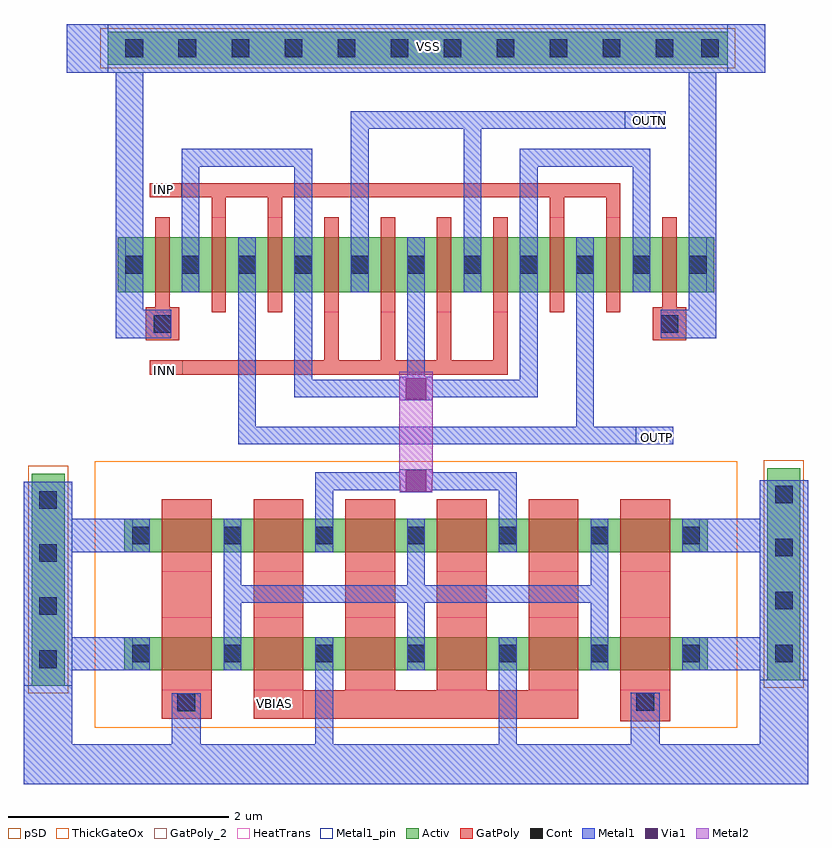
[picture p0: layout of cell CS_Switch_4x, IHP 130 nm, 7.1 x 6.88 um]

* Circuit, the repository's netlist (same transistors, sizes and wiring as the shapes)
** sch_path: /home/designer/shared/CS_DAC/CS_DAC-/xschem/CS_Switch_4x.sch
.subckt CS_Switch_4x INN INP OUTN OUTP VBIAS VSS
*.PININFO VSS:B VBIAS:I OUTP:B OUTN:B INP:I INN:I
MM1 OUTP INP net1 VSS sg13_lv_nmos w=2u l=0.13u ng=1 m=1
MM2 OUTN INN net1 VSS sg13_lv_nmos w=2u l=0.13u ng=1 m=1
MM3 VSS VSS net1 VSS sg13_lv_nmos w=0.5u l=0.13u ng=1 m=1
MM4 VSS VSS net1 VSS sg13_lv_nmos w=0.5u l=0.13u ng=1 m=1
MM5 net1 VBIAS net2 VSS sg13_hv_nmos w=1.2u l=0.45u ng=1 m=1
MM6 net2 VBIAS VSS VSS sg13_hv_nmos w=1.2u l=0.45u ng=1 m=1
MM7 VSS VSS net2 VSS sg13_hv_nmos w=0.3u l=0.45u ng=1 m=1
MM8 VSS VSS net2 VSS sg13_hv_nmos w=0.3u l=0.45u ng=1 m=1
MM9 net2 VSS VSS VSS sg13_hv_nmos w=0.3u l=0.45u ng=1 m=1
MM10 net2 VSS VSS VSS sg13_hv_nmos w=0.3u l=0.45u ng=1 m=1
.ends

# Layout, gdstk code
import gdstk
lib = gdstk.Library(unit=1e-6, precision=1e-09)
def R(c, l, rs):  # rectangles x0, y0, x1, y1
    for r in rs: c.add(gdstk.rectangle(r[:2], r[2:], *l))
def A(c, l, x, y, w, h, nx, ny, dx, dy):  # array of equal rectangles
    R(c, l, [(x+i*dx, y+j*dy, x+i*dx+w, y+j*dy+h) for i in range(nx) for j in range(ny)])
def P(c, l, *ps):  # polygons
    for p in ps: c.add(gdstk.Polygon(p, *l))
Activ = (1, 0)
GatPoly = (5, 0)
GatPoly_2 = (5, 2)
Cont = (6, 0)
Metal1 = (8, 0)
Metal1_pin = (8, 2)
Metal2 = (10, 0)
pSD = (14, 0)
Via1 = (19, 0)
ThickGateOx = (44, 0)
HeatTrans = (51, 0)

nmos = lib.new_cell('nmos')
A(nmos, Activ, 0, 0, 0.3, 0.3, 3, 1, 0.51, 0)
R(nmos, Activ, [(0,0,1.32,0.5)])
R(nmos, GatPoly, [(0.34,-0.18,0.47,0.68), (0.85,-0.18,0.98,0.68)])
R(nmos, GatPoly_2, [(0.34,-0.18,0.47,0.68)])
A(nmos, Cont, 0.07, 0.17, 0.16, 0.16, 3, 1, 0.51, 0)
A(nmos, Metal1, 0.07, 0, 0.16, 0.5, 3, 1, 0.51, 0)
R(nmos, Metal1_pin, [(0.07,0,0.23,0.5), (0.58,0,0.74,0.5)])
R(nmos, HeatTrans, [(0.34,-0.18,0.47,0.68), (0.85,-0.18,0.98,0.68)])
nmos.add(gdstk.Label('nmos', (0.405,0.25), layer=63, texttype=0))
nmos.add(gdstk.Label('nmos', (0.405,0.25), layer=51, texttype=0))
nmos.add(gdstk.Label('nmos', (0.915,0.25), layer=51, texttype=0))

nmos_1 = lib.new_cell('nmos$1')
R(nmos_1, Activ, [(0,0,0.3,0.3), (0,0,0.81,0.5), (0.51,0,0.81,0.3)])
R(nmos_1, GatPoly, [(0.34,-0.18,0.47,0.68)])
R(nmos_1, GatPoly_2, [(0.34,-0.18,0.47,0.68)])
R(nmos_1, Cont, [(0.07,0.17,0.23,0.33), (0.58,0.17,0.74,0.33)])
R(nmos_1, Metal1, [(0.07,0,0.23,0.5), (0.58,0,0.74,0.5)])
R(nmos_1, Metal1_pin, [(0.07,0,0.23,0.5), (0.58,0,0.74,0.5)])
R(nmos_1, HeatTrans, [(0.34,-0.18,0.47,0.68)])
nmos_1.add(gdstk.Label('nmos', (0.405,0.25), layer=63, texttype=0))
nmos_1.add(gdstk.Label('nmos', (0.405,0.25), layer=51, texttype=0))

via_stack = lib.new_cell('via_stack')
R(via_stack, Metal1, [(-0.145,-0.105,0.145,0.105)])
R(via_stack, Metal2, [(-0.145,-0.1,0.145,0.1)])
R(via_stack, Via1, [(-0.095,-0.095,0.095,0.095)])

nmoshv_1 = lib.new_cell('nmosHV$1')
A(nmoshv_1, Activ, 0, 0, 0.3, 0.3, 5, 1, 0.83, 0)
R(nmoshv_1, Activ, [(0,0,3.62,0.3)])
A(nmoshv_1, GatPoly, 0.34, -0.18, 0.45, 0.66, 4, 1, 0.83, 0)
R(nmoshv_1, GatPoly_2, [(0.34,-0.18,0.79,0.48)])
A(nmoshv_1, Cont, 0.07, 0.07, 0.16, 0.16, 5, 1, 0.83, 0)
A(nmoshv_1, Metal1, 0.07, 0, 0.16, 0.3, 5, 1, 0.83, 0)
R(nmoshv_1, Metal1_pin, [(0.07,0,0.23,0.3), (0.9,0,1.06,0.3)])
R(nmoshv_1, ThickGateOx, [(-0.27,-0.52,3.89,0.82)])
A(nmoshv_1, HeatTrans, 0.34, -0.18, 0.45, 0.66, 4, 1, 0.83, 0)
nmoshv_1.add(gdstk.Label('nmosHV', (0.565,0.15), layer=63, texttype=0))
nmoshv_1.add(gdstk.Label('nmosHV', (0.565,0.15), layer=51, texttype=0))
nmoshv_1.add(gdstk.Label('nmosHV', (1.395,0.15), layer=51, texttype=0))
nmoshv_1.add(gdstk.Label('nmosHV', (2.225,0.15), layer=51, texttype=0))
nmoshv_1.add(gdstk.Label('nmosHV', (3.055,0.15), layer=51, texttype=0))

nmoshv_2 = lib.new_cell('nmosHV$2')
R(nmoshv_2, Activ, [(0,0,0.3,0.3), (0,0,1.13,0.3), (0.83,0,1.13,0.3)])
R(nmoshv_2, GatPoly, [(0.34,-0.18,0.79,0.48)])
R(nmoshv_2, GatPoly_2, [(0.34,-0.18,0.79,0.48)])
R(nmoshv_2, Cont, [(0.07,0.07,0.23,0.23), (0.9,0.07,1.06,0.23)])
R(nmoshv_2, Metal1, [(0.07,0,0.23,0.3), (0.9,0,1.06,0.3)])
R(nmoshv_2, Metal1_pin, [(0.07,0,0.23,0.3), (0.9,0,1.06,0.3)])
R(nmoshv_2, ThickGateOx, [(-0.27,-0.52,1.4,0.82)])
R(nmoshv_2, HeatTrans, [(0.34,-0.18,0.79,0.48)])
nmoshv_2.add(gdstk.Label('nmosHV', (0.565,0.15), layer=63, texttype=0))
nmoshv_2.add(gdstk.Label('nmosHV', (0.565,0.15), layer=51, texttype=0))

cs_switch_4x = lib.new_cell('CS_Switch_4x')
R(cs_switch_4x, Activ, [(-3.48,-2.55,-3.18,-0.63), (3.18,-2.5,3.48,-0.58), (-2.79,3.07,2.82,3.37)])
A(cs_switch_4x, GatPoly, -2.3, -1.93, 0.45, 0.41, 6, 1, 0.83, 0)
R(cs_switch_4x, GatPoly, [(1.85,-2.87,2.3,-2.59), (-2.3,-2.85,-1.85,-2.59), (-1.47,-2.85,1.47,-2.59), (-2.41,0.265,0.83,0.395), (0.7,0.365,0.83,0.83), (-0.32,0.375,-0.19,0.83), (0.19,0.38,0.32,0.83), (-0.83,0.39,-0.7,0.83), (-2.445,0.575,-2.145,0.875), (2.145,0.575,2.445,0.875), (-1.85,1.69,-1.72,2), (-1.34,1.69,-1.21,2), (1.21,1.69,1.34,2), (1.72,1.69,1.85,2), (-2.41,1.87,1.21,2), (1.21,1.87,1.85,2)])
R(cs_switch_4x, GatPoly_2, [(-1.47,-2.85,-1.02,-2.59), (-2.41,0.265,-2.11,0.395), (-2.41,1.87,-2.12,2)])
R(cs_switch_4x, Cont, [(-2.16,-2.78,-2,-2.62), (1.995,-2.775,2.155,-2.615), (-3.41,-2.39,-3.25,-2.23), (-3.41,-2.39,-3.25,-2.23), (3.25,-2.34,3.41,-2.18), (3.25,-2.34,3.41,-2.18), (-3.41,-1.91,-3.25,-1.75), (-3.41,-1.91,-3.25,-1.75), (3.25,-1.86,3.41,-1.7), (3.25,-1.86,3.41,-1.7), (-3.41,-1.43,-3.25,-1.27), (-3.41,-1.43,-3.25,-1.27), (3.25,-1.38,3.41,-1.22), (3.25,-1.38,3.41,-1.22), (-3.41,-0.95,-3.25,-0.79), (-3.41,-0.95,-3.25,-0.79), (3.25,-0.9,3.41,-0.74), (3.25,-0.9,3.41,-0.74), (-2.375,0.645,-2.215,0.805), (2.215,0.645,2.375,0.805), (-2.63,3.14,-2.47,3.3), (-2.63,3.14,-2.47,3.3), (-2.15,3.14,-1.99,3.3), (-2.15,3.14,-1.99,3.3), (-1.67,3.14,-1.51,3.3), (-1.67,3.14,-1.51,3.3), (-1.19,3.14,-1.03,3.3), (-1.19,3.14,-1.03,3.3), (-0.71,3.14,-0.55,3.3), (-0.71,3.14,-0.55,3.3), (-0.23,3.14,-0.07,3.3), (-0.23,3.14,-0.07,3.3), (0.25,3.14,0.41,3.3), (0.25,3.14,0.41,3.3), (0.73,3.14,0.89,3.3), (0.73,3.14,0.89,3.3), (1.21,3.14,1.37,3.3), (1.21,3.14,1.37,3.3), (1.69,3.14,1.85,3.3), (1.69,3.14,1.85,3.3), (2.17,3.14,2.33,3.3), (2.17,3.14,2.33,3.3), (2.58,3.14,2.74,3.3), (2.58,3.14,2.74,3.3)])
A(cs_switch_4x, Metal1, -1.74, -2.11, 0.16, 0.77, 3, 1, 1.66, 0)
R(cs_switch_4x, Metal1, [(-3.19,-2.41,-2.41,-2.11), (2.57,-2.41,3.535,-2.11), (-1.74,-1.8,1.74,-1.64), (-3.185,-1.34,-2.41,-1.04), (2.57,-1.34,3.535,-1.04), (-0.91,-1.04,-0.75,-0.62), (0.75,-1.04,0.91,-0.62), (-0.75,-0.78,0.75,-0.62), (-1.61,-0.365,2.33,-0.205), (-1.61,-0.205,-1.45,1.01), (1.45,-0.205,1.61,1.01), (-1.1,0.06,1.1,0.22), (-1.1,0.06,-0.94,1.01), (0.94,0.06,1.1,1.01), (-0.08,0.22,0.08,1.01), (-2.72,0.595,-2.215,0.855), (2.215,0.595,2.72,0.855), (-2.72,0.62,-2.47,1.01), (2.47,0.66,2.72,1.01), (-2.72,1.01,-2.47,3.44), (2.47,1.01,2.72,3.44), (-2.12,1.51,-1.96,2.15), (-1.1,1.51,-0.94,2.15), (-0.59,1.51,-0.43,2.49), (0.43,1.51,0.59,2.49), (0.94,1.51,1.1,2.15), (1.96,1.51,2.12,2.15), (-2.12,2.15,-0.94,2.31), (0.94,2.15,2.12,2.31), (-0.59,2.49,2.26,2.65), (-3.16,3,3.16,3.44)])
P(cs_switch_4x, Metal1, [(-3.55,-3.44),(-3.55,-0.705),(-3.11,-0.705),(-3.11,-3.08),(-2.21,-3.08),(-2.21,-2.62),(-1.95,-2.62),(-1.95,-3.08),(-0.91,-3.08),(-0.91,-2.41),(-0.75,-2.41),(-0.75,-3.08),(0.75,-3.08),(0.75,-2.41),(0.91,-2.41),(0.91,-3.08),(1.945,-3.08),(1.945,-2.615),(2.205,-2.615),(2.205,-3.08),(3.11,-3.08),(3.11,-0.69),(3.55,-0.69),(3.55,-3.44)])
R(cs_switch_4x, Metal1_pin, [(-3.55,-2.55,-3.11,-0.705), (3.11,-2.5,3.55,-0.69), (1.99,-0.365,2.33,-0.205), (1.89,2.49,2.26,2.65), (-2.79,3,2.82,3.44)])
P(cs_switch_4x, Metal2, [(-0.15,-0.685),(-0.15,0.29),(0.15,0.29),(0.15,-0.685),(0.125,-0.685)])
R(cs_switch_4x, pSD, [(-3.51,-2.62,-3.15,-0.56), (3.15,-2.57,3.51,-0.51), (-2.86,3.04,2.89,3.4)])
cs_switch_4x.add(gdstk.Reference(nmos, (-0.15,1.51), x_reflection=True))
cs_switch_4x.add(gdstk.Reference(nmos, (-1.17,1.51), x_reflection=True))
cs_switch_4x.add(gdstk.Reference(nmos, (0.87,1.51), x_reflection=True))
cs_switch_4x.add(gdstk.Reference(nmos, (-2.19,1.51), x_reflection=True))
cs_switch_4x.add(gdstk.Reference(nmos_1, (1.89,1.01)))
cs_switch_4x.add(gdstk.Reference(via_stack, (0,-0.695)))
cs_switch_4x.add(gdstk.Reference(nmoshv_1, (-1.81,-1.34)))
cs_switch_4x.add(gdstk.Reference(nmoshv_1, (-1.81,-2.41)))
cs_switch_4x.add(gdstk.Reference(nmoshv_2, (-2.64,-1.34)))
cs_switch_4x.add(gdstk.Reference(nmos_1, (-2.7,1.01)))
cs_switch_4x.add(gdstk.Reference(nmoshv_2, (-2.64,-2.41)))
cs_switch_4x.add(gdstk.Reference(nmoshv_2, (1.51,-1.34)))
cs_switch_4x.add(gdstk.Reference(via_stack, (0,0.14)))
cs_switch_4x.add(gdstk.Reference(nmoshv_2, (1.51,-2.41)))
cs_switch_4x.add(gdstk.Label('INN', (-2.28,0.305), layer=5, texttype=1))
cs_switch_4x.add(gdstk.Label('VBIAS', (-1.285,-2.715), layer=5, texttype=1))
cs_switch_4x.add(gdstk.Label('INP', (-2.29,1.94), layer=5, texttype=1))
cs_switch_4x.add(gdstk.Label('VSS', (0.11,3.24), layer=8, texttype=25))
cs_switch_4x.add(gdstk.Label('OUTP', (2.18,-0.305), layer=8, texttype=25))
cs_switch_4x.add(gdstk.Label('OUTN', (2.11,2.57), layer=8, texttype=25))

lib.write_gds('CS_Switch_4x.gds')
